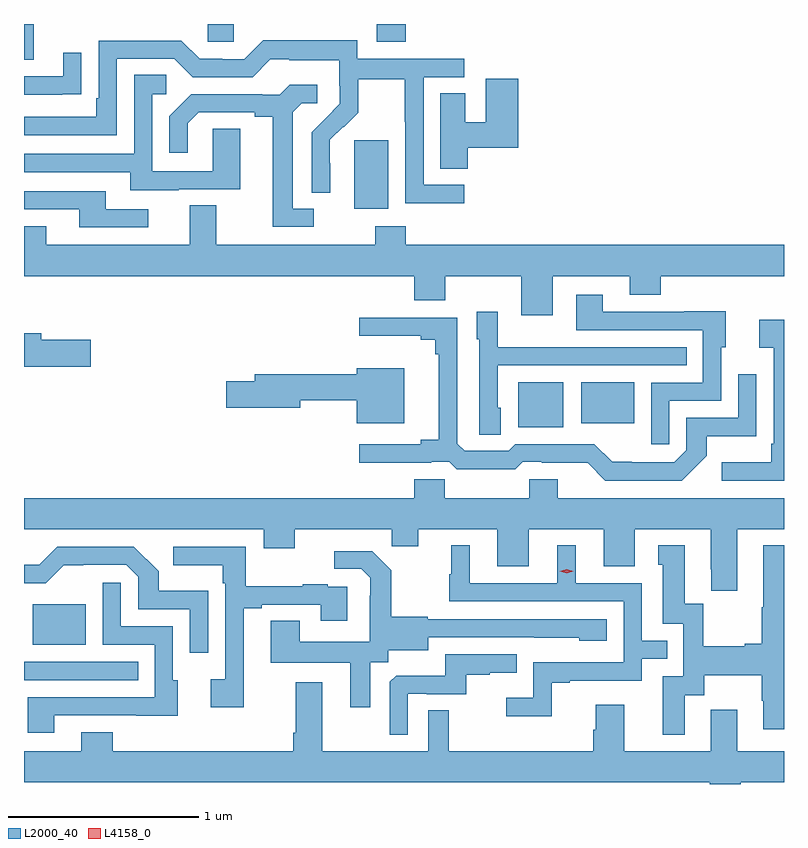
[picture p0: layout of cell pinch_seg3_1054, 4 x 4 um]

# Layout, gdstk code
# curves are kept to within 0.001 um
import gdstk
lib = gdstk.Library(unit=1e-6, precision=1e-09)
def R(c, l, rs):  # rectangles x0, y0, x1, y1
    for r in rs: c.add(gdstk.rectangle(r[:2], r[2:], *l))
def P(c, l, *ps):  # polygons
    for p in ps: c.add(gdstk.Polygon(p, *l))
L2000_40 = (2000, 40)
L4158_0 = (4158, 0)

pinch_seg3_1054 = lib.new_cell('pinch_seg3_1054')
R(pinch_seg3_1054, L2000_40, [(251.073,702.786,251.675,702.882), (251.12,702.971,251.398,703.186), (253.673,704.117,253.912,704.353), (254.006,704.138,254.284,704.353), (252.812,705.266,252.991,705.627), (251.073,706.05,251.125,706.239), (252.929,706.145,253.082,706.239), (252.039,706.146,252.177,706.239)])
P(pinch_seg3_1054, L2000_40, [(253.39,705.393),(253.176,705.393),(253.176,705.96),(253.39,705.96),(253.39,706.056),(252.828,706.056),(252.828,706.153),(252.331,706.153),(252.231,706.053),(252.116,706.053),(252.116,706.056),(251.997,706.056),(251.901,706.152),(251.466,706.152),(251.466,705.847),(251.453,705.847),(251.453,705.75),(251.073,705.75),(251.073,705.654),(251.562,705.654),(251.562,706.056),(251.865,706.056),(251.961,705.96),(252.276,705.96),(252.369,706.053),(252.469,706.053),(252.469,706.049),(252.732,706.049),(252.732,705.915),(252.734,705.915),(252.734,705.818),(252.588,705.67),(252.588,705.352),(252.684,705.352),(252.683,705.629),(252.753,705.699),(252.756,705.696),(252.833,705.773),(252.833,705.948),(253.078,705.948),(253.078,705.724),(253.08,705.724),(253.08,705.295),(253.39,705.295)],
  [(251.273,705.868),(251.375,705.868),(251.375,706.087),(251.279,706.087),(251.279,705.963),(251.073,705.963),(251.073,705.867),(251.273,705.867)],
  [(251.887,705.369),(252.211,705.369),(252.211,705.689),(252.066,705.689),(252.066,705.465),(251.748,705.465),(251.748,705.87),(251.821,705.87),(251.821,705.971),(251.652,705.971),(251.652,705.555),(251.073,705.555),(251.073,705.459),(251.633,705.459),(251.633,705.365),(251.887,705.365)],
  [(253.409,705.587),(253.673,705.587),(253.673,705.952),(253.502,705.952),(253.502,705.721),(253.396,705.721),(253.396,705.875),(253.265,705.875),(253.265,705.478),(253.409,705.478)],
  [(252.598,705.267),(252.487,705.267),(252.487,705.775),(252.534,705.822),(252.616,705.822),(252.616,705.919),(252.472,705.919),(252.42,705.867),(252.326,705.867),(252.326,705.87),(251.954,705.87),(251.838,705.754),(251.838,705.561),(251.935,705.561),(251.935,705.717),(251.992,705.774),(252.287,705.774),(252.287,705.752),(252.383,705.752),(252.383,705.171),(252.598,705.171)],
  [(251.728,705.264),(251.503,705.264),(251.503,705.36),(251.073,705.36),(251.073,705.264),(251.363,705.264),(251.363,705.168),(251.728,705.168)],
  [(253.855,704.912),(254.261,704.912),(254.261,704.813),(254.425,704.813),(254.425,704.912),(255.073,704.912),(255.073,705.076),(253.082,705.076),(253.082,705.175),(252.922,705.175),(252.922,705.076),(252.085,705.076),(252.085,705.284),(251.945,705.284),(251.945,705.076),(251.191,705.076),(251.191,705.175),(251.073,705.175),(251.073,704.912),(253.127,704.912),(253.127,704.784),(253.291,704.784),(253.291,704.912),(253.691,704.912),(253.691,704.706),(253.855,704.706)],
  [(254.469,704.256),(254.742,704.256),(254.742,704.538),(254.767,704.538),(254.767,704.726),(254.549,704.726),(254.549,704.724),(254.119,704.724),(254.119,704.815),(253.979,704.815),(253.979,704.628),(254.646,704.628),(254.646,704.352),(254.373,704.352),(254.373,704.028),(254.469,704.028)],
  [(253.582,704.22),(253.566,704.22),(253.566,704.442),(254.561,704.442),(254.561,704.538),(253.883,704.538),(253.883,704.539),(253.566,704.539),(253.566,704.725),(253.457,704.725),(253.457,704.58),(253.47,704.58),(253.47,704.077),(253.582,704.077)],
  [(254.667,703.967),(254.667,704.069),(254.928,704.069),(254.928,704.395),(254.832,704.395),(254.832,704.166),(254.559,704.166),(254.559,703.995),(254.496,703.932),(254.272,703.932),(254.272,703.934),(254.168,703.934),(254.073,704.028),(253.659,704.028),(253.623,703.992),(253.392,703.992),(253.353,704.031),(253.353,704.694),(252.837,704.694),(252.837,704.597),(253.16,704.597),(253.16,704.578),(253.237,704.578),(253.237,704.501),(253.256,704.501),(253.256,704.051),(253.16,704.051),(253.16,704.028),(252.837,704.028),(252.837,703.931),(253.217,703.931),(253.217,703.935),(253.311,703.935),(253.351,703.896),(253.659,703.896),(253.698,703.935),(253.798,703.935),(253.798,703.931),(254.039,703.931),(254.133,703.836),(254.536,703.836)],
  [(255.073,704.683),(254.943,704.683),(254.943,704.534),(255.018,704.534),(255.018,704.029),(255.006,704.029),(255.006,703.933),(254.745,703.933),(254.745,703.836),(255.073,703.836)],
  [(251.425,704.577),(251.164,704.577),(251.164,704.611),(251.073,704.611),(251.073,704.435),(251.425,704.435)],
  [(253.075,704.428),(252.824,704.428),(252.824,704.396),(252.287,704.396),(252.287,704.36),(252.138,704.36),(252.138,704.218),(252.526,704.218),(252.526,704.26),(252.824,704.26),(252.824,704.138),(253.075,704.138)],
  [(254.827,703.58),(255.073,703.58),(255.073,703.744),(253.882,703.744),(253.882,703.842),(253.732,703.842),(253.732,703.744),(253.287,703.744),(253.287,703.842),(253.127,703.842),(253.127,703.744),(251.073,703.744),(251.073,703.58),(252.335,703.58),(252.335,703.481),(252.499,703.481),(252.499,703.58),(253.009,703.58),(253.009,703.49),(253.147,703.49),(253.147,703.58),(253.565,703.58),(253.565,703.386),(253.729,703.386),(253.729,703.58),(254.123,703.58),(254.123,703.386),(254.287,703.386),(254.287,703.58),(254.687,703.58),(254.687,703.369),(254.69,703.369),(254.69,703.257),(254.827,703.257)],
  [(254.551,702.706),(254.653,702.706),(254.653,702.812),(254.956,702.812),(254.956,702.678),(254.963,702.678),(254.963,702.528),(255.073,702.528),(255.073,703.495),(254.963,703.495),(254.963,703.169),(254.956,703.169),(254.956,702.977),(254.867,702.977),(254.867,702.964),(254.649,702.964),(254.649,703.187),(254.551,703.187),(254.551,703.495),(254.411,703.495),(254.411,703.392),(254.435,703.392),(254.435,703.083),(254.544,703.083),(254.544,702.807),(254.435,702.807),(254.435,702.498),(254.551,702.498)],
  [(253.851,702.771),(253.945,702.771),(253.945,702.783),(254.325,702.783),(254.325,702.897),(254.459,702.897),(254.459,702.993),(254.325,702.993),(254.325,703.296),(253.978,703.296),(253.978,703.495),(253.88,703.495),(253.88,703.296),(253.42,703.296),(253.42,703.495),(253.322,703.495),(253.322,703.344),(253.311,703.344),(253.311,703.2),(254.229,703.2),(254.229,702.879),(253.752,702.879),(253.752,702.694),(253.611,702.694),(253.611,702.596),(253.851,702.596)],
  [(252.229,703.164),(252.325,703.164),(252.325,703.182),(252.635,703.182),(252.635,703.098),(252.775,703.098),(252.775,703.278),(252.671,703.278),(252.671,703.291),(252.539,703.291),(252.539,703.28),(252.241,703.28),(252.241,703.488),(251.859,703.488),(251.859,703.391),(252.12,703.391),(252.12,703.295),(252.132,703.295),(252.132,702.79),(252.057,702.79),(252.057,702.642),(252.229,702.642)],
  [(252.042,703.255),(251.781,703.255),(251.781,703.358),(251.65,703.488),(251.247,703.488),(251.153,703.394),(251.073,703.394),(251.073,703.296),(251.187,703.296),(251.282,703.391),(251.61,703.392),(251.673,703.329),(251.673,703.158),(251.946,703.158),(251.946,702.93),(252.042,702.93)],
  [(252.895,702.88),(252.99,702.88),(252.99,702.944),(253.201,702.944),(253.201,703.011),(253.995,703.01),(253.995,702.992),(254.14,702.992),(254.14,703.107),(253.197,703.107),(253.197,703.12),(253.005,703.12),(253.005,703.365),(252.905,703.465),(252.705,703.465),(252.705,703.371),(252.849,703.371),(252.896,703.324),(252.896,703.229),(252.894,703.229),(252.894,702.988),(252.523,702.988),(252.523,703.097),(252.371,703.097),(252.371,702.878),(252.791,702.878),(252.791,702.642),(252.895,702.642)],
  [(251.233,702.6),(251.663,702.6),(251.663,702.599),(251.881,702.599),(251.881,702.786),(251.856,702.786),(251.856,703.068),(251.583,703.068),(251.583,703.297),(251.487,703.297),(251.487,702.972),(251.76,702.972),(251.76,702.696),(251.093,702.696),(251.093,702.51),(251.233,702.51)],
  [(253.092,702.714),(253.192,702.714),(253.192,702.711),(253.4,702.711),(253.4,702.813),(253.523,702.813),(253.523,702.824),(253.667,702.824),(253.667,702.921),(253.29,702.921),(253.29,702.809),(253.031,702.809),(252.999,702.777),(252.999,702.497),(253.092,702.497)],
  [(254.845,702.248),(255.073,702.248),(255.073,702.412),(254.827,702.412),(254.827,702.631),(254.687,702.631),(254.687,702.412),(254.233,702.412),(254.233,702.655),(254.081,702.655),(254.081,702.525),(254.069,702.525),(254.069,702.412),(253.309,702.412),(253.309,702.626),(253.2,702.626),(253.2,702.412),(252.643,702.412),(252.643,702.775),(252.503,702.775),(252.503,702.508),(252.491,702.508),(252.491,702.412),(251.539,702.412),(251.539,702.511),(251.375,702.511),(251.375,702.412),(251.073,702.412),(251.073,702.248),(254.681,702.248),(254.681,702.239),(254.845,702.239)])
P(pinch_seg3_1054, L4158_0, [(253.929,703.349),(253.893,703.359),(253.893,703.359),(253.893,703.359),(253.929,703.369),(253.965,703.359),(253.965,703.359),(253.965,703.359)])

lib.write_gds('pinch_seg3_1054.gds')
